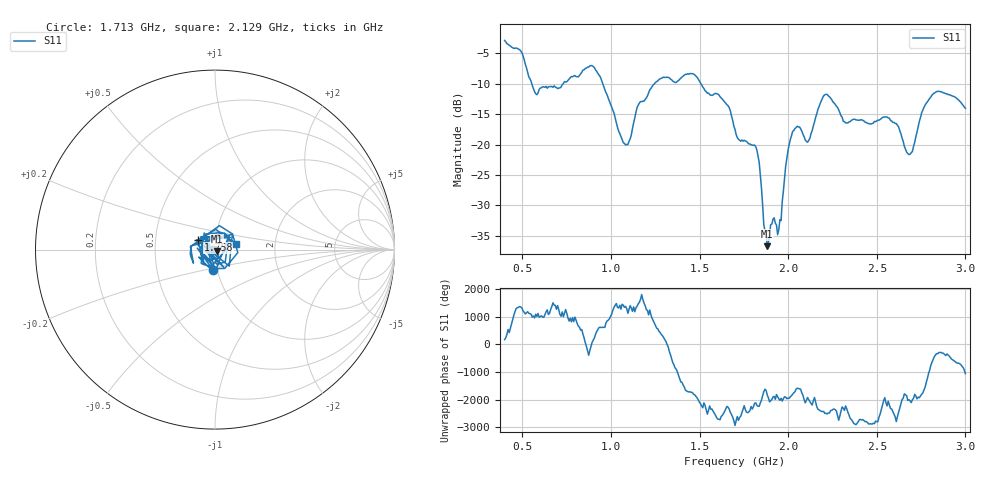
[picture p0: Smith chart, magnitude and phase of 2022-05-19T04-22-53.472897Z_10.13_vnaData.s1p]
!Created with skrf (http://scikit-rf.org).
# Hz S RI R 50.0
!freq ReS11 ImS11
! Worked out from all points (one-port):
!   401 points, 400 MHz to 3 GHz, reference 50 ohm
!   lowest |S11| = -36.7 dB at 1.882 GHz (marker M1), VSWR 1.03, Z = 51.2 - j0.885 ohm
!   |S11| at or under -10 dB: 553.6 MHz to 730 MHz (176.4 MHz wide, 27.5 % of centre); 954 MHz to 1.245 GHz (290.9 MHz wide, 26.5 % of centre); 1.508 GHz to end of sweep
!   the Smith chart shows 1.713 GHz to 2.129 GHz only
!   S11 on the Smith chart (normalised r, x): 1.713 GHz: 0.95, -0.22; 1.758 GHz: 0.83, +0.09; 2.129 GHz: 1.27, +0.08
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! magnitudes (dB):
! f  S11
! 400 MHz  -2.9
! 491 MHz  -4.6
! 575.5 MHz  -11.6
! 725 MHz  -10.1
! 900.5 MHz  -7.2
! 1.05 GHz  -18.2
! 1.095 GHz  -20.0
! 1.154 GHz  -13.5
! 1.258 GHz  -9.6
! 1.375 GHz  -9.6
! 1.472 GHz  -8.5
! 1.655 GHz  -13.4
! 1.7 GHz  -17.5
! 1.713 GHz  -18.8
! 1.758 GHz  -19.4
! 1.823 GHz  -20.9
! 1.869 GHz  -34.1
! 1.882 GHz  -36.7
! 1.954 GHz  -32.3
! 1.992 GHz  -22.2
! 2.025 GHz  -17.8
! 2.129 GHz  -18.2
! 2.213 GHz  -11.7
! 2.35 GHz  -16.2
! 2.558 GHz  -15.4
! 2.675 GHz  -21.5
! 2.825 GHz  -11.5
! 3 GHz  -14.0
